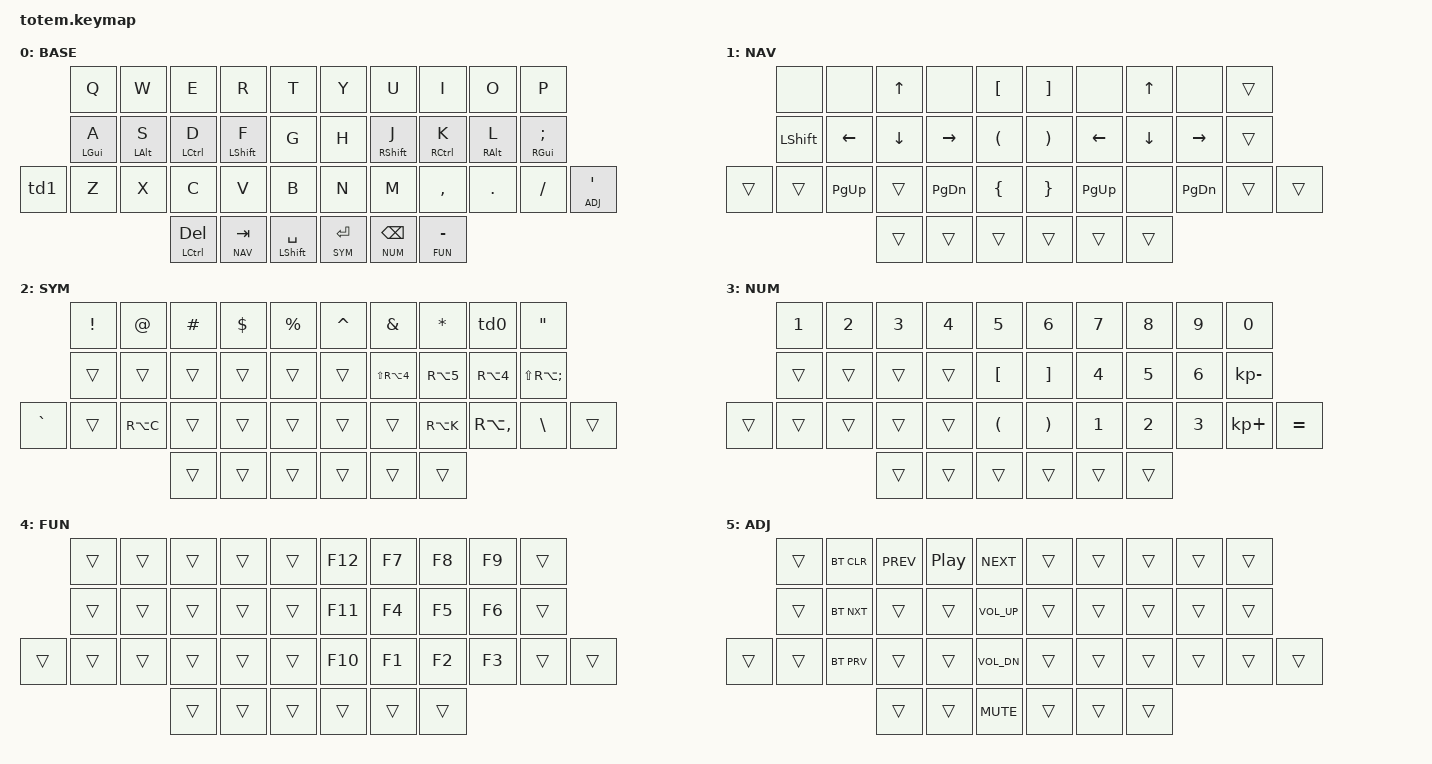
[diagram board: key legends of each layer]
//
//                                                        ▀▀▀▀▀     ▀▀▀▀▀          ▀▀█▀▀
//                                                        ▄▀▀▀▄  ▄  ▄▀▀▀▄  ▄  ▄▀▀▀▄  █  ▄▀▀▀▄
//                                                        █   █  █  █   █  █  █   █  █  █   █
//                                                         ▀▀▀   █   ▀▀▀   █   ▀▀▀   ▀   ▀▀▀
//                                                               █      ▄▄▄█▄▄▄    █   █
//                                                               ▀      █  █  █     █▄█
//                                                             ▀▀▀▀▀    █  █  █      ▀
//                                                                      ▀  ▀  ▀
//
// ▄▄▄▄▄▄▄▄▄▄▄▄▄▄▄▄▄▄▄▄▄▄▄▄▄▄▄▄▄▄▄▄▄▄▄▄▄▄▄▄▄▄▄▄▄▄▄▄▄▄▄▄▄▄▄▄▄▄▄▄▄▄▄▄▄▄▄▄▄▄▄▄▄▄▄▄▄▄▄▄▄▄▄▄▄▄▄▄▄▄▄▄▄▄▄▄▄▄▄▄▄▄▄▄▄▄▄▄▄▄▄▄▄▄▄▄▄▄▄▄▄▄▄▄▄▄▄▄▄▄▄▄▄▄▄▄▄▄▄▄▄▄▄▄▄▄▄▄▄


#include <behaviors.dtsi>
#include <dt-bindings/zmk/keys.h>
#include <dt-bindings/zmk/bt.h>
#include <dt-bindings/zmk/ext_power.h>
#include <dt-bindings/zmk/outputs.h>

#define ___ &trans

#define BASE   0
#define NAV    1
#define SYM    2
#define NUM    3
#define FUN    4
#define ADJ    5

// mod-tap : acts like a modifier when long pressed else tapped
&mt {
     tapping-term-ms = <240>;
     quick-tap-ms = <200>;
     require-prior-idle-ms = <125>;
     // global-quick-tap; // deprecated
     flavor = "tap-preferred";
};

// layer tap : hold to activate layer else tapped
&lt {
     tapping-term-ms = <240>;
     flavor = "balanced";
     quick-tap-ms = <150>;
};

&caps_word {
    continue-list = <UNDERSCORE MINUS>;
};

/ {
   behaviors {
          hm: homerow_mods {
          compatible = "zmk,behavior-hold-tap";
          label = "HOMEROW_MODS";
          #binding-cells = <2>;
          flavor = "tap-preferred";
          tapping-term-ms = <280>;
          quick-tap-ms = <200>;
          require-prior-idle-ms = <125>;
          bindings = <&kp>, <&kp>;
      };
      td0: tap_dance_0 {
            compatible = "zmk,behavior-tap-dance";
            #binding-cells = <0>;
            tapping-term-ms = <200>;
            bindings = <&kp SQT>, <&kp DQT>;
        };
      td1: tap_dance_1 {
            compatible = "zmk,behavior-tap-dance";
            #binding-cells = <0>;
            tapping-term-ms = <200>;
            bindings = <&none>, <&kp ESC>;
};
   };

/*
   +-----------------------------------------+     +-------------------------------------------+
   ¦  0   1   2   3   4 ¦  5   6   7   8   9 ¦     ¦ LT4 LT3 LT2 LT1 LT0 ¦ RT0 RT1 RT2 RT3 RT4 ¦
   ¦ 10  11  12  13  14 ¦ 15  16  17  18  19 ¦     ¦ LM4 LM3 LM2 LM1 LM0 ¦ RM0 RM1 RM2 RM3 RM4 ¦
  20 21  22  23  24  25 ¦ 26  27  28  29  30 31  LB5 LB4 LB3 LB2 LB1 LB0 ¦ RB0 RB1 RB2 RB3 RB4 RB5
   +-------+ 32  33  34 ¦ 35  36  37 +-------+     +-------+ LH2 LH1 LH0 ¦ RH0 RH1 RH2 +-------+
           +-------------------------+                     +---------------------------+         */

    combos {
        compatible = "zmk,combos";
        combo_ESC {
            timeout-ms = <50>;
            key-positions = <0 1>;
            bindings = <&kp ESC>;
        };
        combo_capsword {
	    timeout-ms = <50>;
            key-positions = <13 16>; // LSHIFT+RSHIFT
            bindings = <&caps_word>;
        };
        combo_pscrn {
	    timeout-ms = <50>;
            key-positions = <20 31>; // PRINT SCREEN
            bindings = <&kp PSCRN>;
        };
        combo_LBKT {
            timeout-ms = <50>;
            key-positions = <6 7>;  // [
            bindings = < &kp LBKT>;
        };
        combo_RBKT {
            timeout-ms = <50>;
            key-positions = <7 8>;  // ]
            bindings = <&kp RBKT>;
        };
        combo_LPAR {
            timeout-ms = <50>;
            key-positions = <16 17>; // (
            bindings = <&kp LPAR>;
        };
        combo_RPAR {
            timeout-ms = <50>;
            key-positions = <17 18>; // )
            bindings = <&kp RPAR>;
        };
        combo_LBRC {
            timeout-ms = <50>;
            key-positions = <27 28>; // {
            bindings = <&kp LBRC>;
        };
        combo_RBRC {
            timeout-ms = <50>;
            key-positions = <28 29>; // }
            bindings = <&kp RBRC>;
        };
        combo_PIPE {
            timeout-ms = <50>;
            key-positions = <19 30>; // |
            bindings = <&kp PIPE>;
        };
        // combo_COPY {
        //     timeout-ms = <50>;
        //     key-positions = <24 32>;
        //     bindings = <&kp LC(C)>;
        // };
        // combo_PASTE {
        //     timeout-ms = <50>;
        //     key-positions = <25 33>;
        //     bindings = <&kp LC(V)>;
        // };
    };

    keymap {
      compatible = "zmk,keymap";
// ▄▄▄▄▄▄▄▄▄▄▄▄▄▄▄▄▄▄▄▄▄▄▄▄▄▄▄▄▄▄▄▄▄▄▄▄▄▄▄▄▄▄▄▄▄▄▄▄▄▄▄▄▄▄▄▄▄▄▄▄▄▄▄▄▄▄▄▄▄▄▄▄▄▄▄▄▄▄▄▄▄▄▄▄▄▄▄▄▄▄▄▄▄▄▄▄▄▄▄▄▄▄▄▄▄▄▄▄▄▄▄▄▄▄▄▄▄▄▄▄▄▄▄▄▄▄▄▄▄▄▄▄▄▄▄▄▄▄▄▄▄▄▄▄▄▄▄▄▄

      base_layer {
// ┏━━━━━━━━━━━━━━━━━━━━━━━━━━━━━━━━━━━━━━━┓
label= "BASE"                              ;
// ┗━━━━━━━━━━━━━━━━━━━━━━━━━━━━━━━━━━━━━━━┛
//             ┏━━━━━━━━━━━┳━━━━━━━━━━━┳━━━━━━━━━━━┳━━━━━━━━━━━┳━━━━━━━━━━━┓   ┏━━━━━━━━━━━┳━━━━━━━━━━━┳━━━━━━━━━━━┳━━━━━━━━━━━┳━━━━━━━━━━━┓
//             ┃     Q     ┃     W     ┃     E     ┃     R     ┃     T     ┃   ┃     Y     ┃     U     ┃     I     ┃     O     ┃     P     ┃
//             ┃           ┃           ┃           ┃           ┃           ┃   ┃           ┃           ┃           ┃           ┃           ┃
//             ┣━━━━━━━━━━━╋━━━━━━━━━━━╋━━━━━━━━━━━╋━━━━━━━━━━━╋━━━━━━━━━━━┫   ┣━━━━━━━━━━━╋━━━━━━━━━━━╋━━━━━━━━━━━╋━━━━━━━━━━━╋━━━━━━━━━━━┫
//             ┃     A     ┃     S     ┃     D     ┃     F     ┃     G     ┃   ┃     H     ┃     J     ┃     K     ┃     L     ┃     ;     ┃
//             ┃  HM LGUI  ┃  HM LALT  ┃ HM LCTRL  ┃ HM LSHIFT ┃           ┃   ┃           ┃ HM RSHIFT ┃ HM RCTRL  ┃  HM RALT  ┃  HM RGUI  ┃
// ┏━━━━━━━━━━━╋━━━━━━━━━━━╋━━━━━━━━━━━╋━━━━━━━━━━━╋━━━━━━━━━━━╋━━━━━━━━━━━┫   ┣━━━━━━━━━━━╋━━━━━━━━━━━╋━━━━━━━━━━━╋━━━━━━━━━━━╋━━━━━━━━━━━╋━━━━━━━━━━━┓
// ┃    none   ┃     Z     ┃     X     ┃     C     ┃     V     ┃     B     ┃   ┃     N     ┃     M     ┃     <     ┃     >     ┃     ?     ┃     '     ┃
// ┃    ESC    ┃           ┃           ┃           ┃           ┃           ┃   ┃           ┃           ┃     ,     ┃     .     ┃     /     ┃    ADJ    ┃
// ┗━━━━━━━━━━━┻━━━━━━━━━━━┻━━━━━━━━━━━╋━━━━━━━━━━━╋━━━━━━━━━━━╋━━━━━━━━━━━┫   ┣━━━━━━━━━━━╋━━━━━━━━━━━╋━━━━━━━━━━━╋━━━━━━━━━━━┻━━━━━━━━━━━┻━━━━━━━━━━━┛
//                                     ┃     DEL   ┃    TAB    ┃    SPC    ┃   ┃   ENTER   ┃    BSPC   ┃    - _    ┃
//                                     ┃  MT LCTR  ┃    NAV    ┃ MT LSHIFT ┃   ┃    SYM    ┃    NUM    ┃    FUN    ┃
//                                     ┗━━━━━━━━━━━┻━━━━━━━━━━━┻━━━━━━━━━━━┛   ┗━━━━━━━━━━━┻━━━━━━━━━━━┻━━━━━━━━━━━┛
 bindings = <
                   &kp Q       &kp W       &kp E       &kp R        &kp T          &kp Y       &kp U       &kp I        &kp O      &kp P
                 &hm LGUI A  &hm LALT S  &hm LCTRL D  &hm LSHIFT F  &kp G          &kp H    &hm RSHFT J &hm RCTRL K  &hm RALT L &hm RGUI SEMICOLON
      &td1          &kp Z      &kp X       &kp C         &kp V      &kp B          &kp N       &kp M    &kp COMMA     &kp DOT   &kp SLASH   &lt ADJ APOSTROPHE
                                      &mt LCTRL DEL &lt NAV TAB &mt LSHIFT SPACE  &lt SYM RET &lt NUM BSPC &lt FUN MINUS
            >;

     };

// ▄▄▄▄▄▄▄▄▄▄▄▄▄▄▄▄▄▄▄▄▄▄▄▄▄▄▄▄▄▄▄▄▄▄▄▄▄▄▄▄▄▄▄▄▄▄▄▄▄▄▄▄▄▄▄▄▄▄▄▄▄▄▄▄▄▄▄▄▄▄▄▄▄▄▄▄▄▄▄▄▄▄▄▄▄▄▄▄▄▄▄▄▄▄▄▄▄▄▄▄▄▄▄▄▄▄▄▄▄▄▄▄▄▄▄▄▄▄▄▄▄▄▄▄▄▄▄▄▄▄▄▄▄▄▄▄▄▄▄▄▄▄▄▄▄▄▄▄▄

      nav_layer {
// ┏━━━━━━━━━━━━━━━━━━━━━━━━━━━━━━━━━━━━━━━┓
label= "NAV"                               ;
// ┗━━━━━━━━━━━━━━━━━━━━━━━━━━━━━━━━━━━━━━━┛
//             ┏━━━━━━━━━━━┳━━━━━━━━━━━┳━━━━━━━━━━━┳━━━━━━━━━━━┳━━━━━━━━━━━┓   ┏━━━━━━━━━━━┳━━━━━━━━━━━┳━━━━━━━━━━━┳━━━━━━━━━━━┳━━━━━━━━━━━┓
//             ┃           ┃           ┃     UP    ┃           ┃     [     ┃   ┃     ]     ┃           ┃     UP    ┃           ┃           ┃
//             ┃           ┃           ┃           ┃           ┃           ┃   ┃           ┃           ┃           ┃           ┃           ┃
//             ┣━━━━━━━━━━━╋━━━━━━━━━━━╋━━━━━━━━━━━╋━━━━━━━━━━━╋━━━━━━━━━━━┫   ┣━━━━━━━━━━━╋━━━━━━━━━━━╋━━━━━━━━━━━╋━━━━━━━━━━━╋━━━━━━━━━━━┫
//             ┃   SHIFT   ┃   LEFT    ┃    DOWN   ┃   RIGHT   ┃     (     ┃   ┃     )     ┃  LEFT     ┃   DOWN    ┃  RIGHT    ┃           ┃
//             ┃           ┃           ┃           ┃           ┃           ┃   ┃           ┃           ┃           ┃           ┃           ┃
// ┏━━━━━━━━━━━╋━━━━━━━━━━━╋━━━━━━━━━━━╋━━━━━━━━━━━╋━━━━━━━━━━━╋━━━━━━━━━━━┫   ┣━━━━━━━━━━━╋━━━━━━━━━━━╋━━━━━━━━━━━╋━━━━━━━━━━━╋━━━━━━━━━━━╋━━━━━━━━━━━┓
// ┃           ┃           ┃   P UP    ┃           ┃  P DOWN   ┃     {     ┃   ┃     }     ┃  P UP     ┃           ┃  P DOWN   ┃           ┃           ┃
// ┃           ┃           ┃           ┃           ┃           ┃           ┃   ┃           ┃           ┃           ┃           ┃           ┃           ┃
// ┗━━━━━━━━━━━┻━━━━━━━━━━━┻━━━━━━━━━━━╋━━━━━━━━━━━╋━━━━━━━━━━━╋━━━━━━━━━━━┫   ┣━━━━━━━━━━━╋━━━━━━━━━━━╋━━━━━━━━━━━╋━━━━━━━━━━━┻━━━━━━━━━━━┻━━━━━━━━━━━┛
//                                     ┃           ┃           ┃           ┃   ┃           ┃           ┃           ┃
//                                     ┃           ┃           ┃           ┃   ┃           ┃           ┃           ┃
//                                     ┗━━━━━━━━━━━┻━━━━━━━━━━━┻━━━━━━━━━━━┛   ┗━━━━━━━━━━━┻━━━━━━━━━━━┻━━━━━━━━━━━┛
 bindings = <
                  &none        &none       &kp UP      &none      &kp LBKT       &kp RBKT      &none       &kp UP      &none        ___
                 &kp LSHFT   &kp LEFT    &kp DOWN    &kp RIGHT    &kp LPAR       &kp RPAR    &kp LEFT    &kp DOWN    &kp RIGHT      ___
        ___         ___      &kp PG_UP     ___       &kp PG_DN    &kp LBRC       &kp RBRC    &kp PG_UP    &none      &kp PG_DN      ___        ___
                                           ___         ___          ___            ___         ___         ___
                        >;
                };

// ▄▄▄▄▄▄▄▄▄▄▄▄▄▄▄▄▄▄▄▄▄▄▄▄▄▄▄▄▄▄▄▄▄▄▄▄▄▄▄▄▄▄▄▄▄▄▄▄▄▄▄▄▄▄▄▄▄▄▄▄▄▄▄▄▄▄▄▄▄▄▄▄▄▄▄▄▄▄▄▄▄▄▄▄▄▄▄▄▄▄▄▄▄▄▄▄▄▄▄▄▄▄▄▄▄▄▄▄▄▄▄▄▄▄▄▄▄▄▄▄▄▄▄▄▄▄▄▄▄▄▄▄▄▄▄▄▄▄▄▄▄▄▄▄▄▄▄▄▄

      sim_layer {
// ┏━━━━━━━━━━━━━━━━━━━━━━━━━━━━━━━━━━━━━━━┓
label= "SYM"                               ;
// ┗━━━━━━━━━━━━━━━━━━━━━━━━━━━━━━━━━━━━━━━┛
//             ┏━━━━━━━━━━━┳━━━━━━━━━━━┳━━━━━━━━━━━┳━━━━━━━━━━━┳━━━━━━━━━━━┓   ┏━━━━━━━━━━━┳━━━━━━━━━━━┳━━━━━━━━━━━┳━━━━━━━━━━━┳━━━━━━━━━━━┓
//             ┃     !     ┃     @     ┃     #     ┃     $     ┃     %     ┃   ┃     ˆ     ┃     &     ┃     *     ┃     '     ┃     "     ┃
//             ┃           ┃           ┃           ┃           ┃           ┃   ┃           ┃           ┃           ┃           ┃           ┃
//             ┣━━━━━━━━━━━╋━━━━━━━━━━━╋━━━━━━━━━━━╋━━━━━━━━━━━╋━━━━━━━━━━━┫   ┣━━━━━━━━━━━╋━━━━━━━━━━━╋━━━━━━━━━━━╋━━━━━━━━━━━╋━━━━━━━━━━━┫
//             ┃           ┃           ┃           ┃           ┃           ┃   ┃           ┃     £     ┃     €     ┃     ¤     ┃     °     ┃
//             ┃           ┃           ┃           ┃           ┃           ┃   ┃           ┃           ┃           ┃           ┃           ┃
// ┏━━━━━━━━━━━╋━━━━━━━━━━━╋━━━━━━━━━━━╋━━━━━━━━━━━╋━━━━━━━━━━━╋━━━━━━━━━━━┫   ┣━━━━━━━━━━━╋━━━━━━━━━━━╋━━━━━━━━━━━╋━━━━━━━━━━━╋━━━━━━━━━━━╋━━━━━━━━━━━┓
// ┃    `      ┃           ┃ COPYRIGHT ┃           ┃           ┃           ┃   ┃           ┃           ┃     œ     ┃     ç     ┃     \     ┃           ┃
// ┃     ~     ┃           ┃           ┃           ┃           ┃           ┃   ┃           ┃           ┃           ┃           ┃           ┃           ┃
// ┗━━━━━━━━━━━┻━━━━━━━━━━━┻━━━━━━━━━━━╋━━━━━━━━━━━╋━━━━━━━━━━━╋━━━━━━━━━━━┫   ┣━━━━━━━━━━━╋━━━━━━━━━━━╋━━━━━━━━━━━╋━━━━━━━━━━━┻━━━━━━━━━━━┻━━━━━━━━━━━┛
//                                     ┃           ┃           ┃           ┃   ┃           ┃           ┃           ┃
//                                     ┃           ┃           ┃           ┃   ┃           ┃           ┃           ┃
//                                     ┗━━━━━━━━━━━┻━━━━━━━━━━━┻━━━━━━━━━━━┛   ┗━━━━━━━━━━━┻━━━━━━━━━━━┻━━━━━━━━━━━┛
 bindings = <
                &kp EXCL    &kp AT      &kp HASH    &kp DLLR    &kp PRCNT        &kp CARET   &kp AMPS   &kp ASTERISK       &td0      &kp DQT
                  ___         ___         ___         ___         ___               ___    &kp LS(RA(N4)) &kp RA(N5) &kp RA(N4) &kp LS(RA(SEMICOLON))
    &kp GRAVE     ___       &kp RA(C)     ___         ___         ___               ___         ___       &kp RA(K)  &kp RA(COMMA)  &kp BSLH    ___
                                          ___         ___         ___               ___         ___         ___
                        >;
                };

// ▄▄▄▄▄▄▄▄▄▄▄▄▄▄▄▄▄▄▄▄▄▄▄▄▄▄▄▄▄▄▄▄▄▄▄▄▄▄▄▄▄▄▄▄▄▄▄▄▄▄▄▄▄▄▄▄▄▄▄▄▄▄▄▄▄▄▄▄▄▄▄▄▄▄▄▄▄▄▄▄▄▄▄▄▄▄▄▄▄▄▄▄▄▄▄▄▄▄▄▄▄▄▄▄▄▄▄▄▄▄▄▄▄▄▄▄▄▄▄▄▄▄▄▄▄▄▄▄▄▄▄▄▄▄▄▄▄▄▄▄▄▄▄▄▄▄▄▄▄

      num_layer {
// ┏━━━━━━━━━━━━━━━━━━━━━━━━━━━━━━━━━━━━━━━┓
label= "NUM"                               ;
// ┗━━━━━━━━━━━━━━━━━━━━━━━━━━━━━━━━━━━━━━━┛
//             ┏━━━━━━━━━━━┳━━━━━━━━━━━┳━━━━━━━━━━━┳━━━━━━━━━━━┳━━━━━━━━━━━┓   ┏━━━━━━━━━━━┳━━━━━━━━━━━┳━━━━━━━━━━━┳━━━━━━━━━━━┳━━━━━━━━━━━┓
//             ┃     1     ┃     2     ┃     3     ┃    4      ┃     5     ┃   ┃     6     ┃     7     ┃     8     ┃     9     ┃     0     ┃
//             ┃     !     ┃     @     ┃     #     ┃    $      ┃     %     ┃   ┃     ^     ┃     &     ┃     *     ┃     (     ┃     )     ┃
//             ┣━━━━━━━━━━━╋━━━━━━━━━━━╋━━━━━━━━━━━╋━━━━━━━━━━━╋━━━━━━━━━━━┫   ┣━━━━━━━━━━━╋━━━━━━━━━━━╋━━━━━━━━━━━╋━━━━━━━━━━━╋━━━━━━━━━━━┫
//             ┃           ┃           ┃           ┃           ┃     [     ┃   ┃     ]     ┃     4     ┃     5     ┃     6     ┃     -     ┃
//             ┃           ┃           ┃           ┃           ┃     {     ┃   ┃     }     ┃           ┃           ┃           ┃           ┃
// ┏━━━━━━━━━━━╋━━━━━━━━━━━╋━━━━━━━━━━━╋━━━━━━━━━━━╋━━━━━━━━━━━╋━━━━━━━━━━━┫   ┣━━━━━━━━━━━╋━━━━━━━━━━━╋━━━━━━━━━━━╋━━━━━━━━━━━╋━━━━━━━━━━━╋━━━━━━━━━━━┓
// ┃           ┃           ┃           ┃           ┃           ┃     (     ┃   ┃     )     ┃     1     ┃     2     ┃     3     ┃     +     ┃     =     ┃
// ┃           ┃           ┃           ┃           ┃           ┃           ┃   ┃           ┃           ┃           ┃           ┃           ┃           ┃
// ┗━━━━━━━━━━━┻━━━━━━━━━━━┻━━━━━━━━━━━╋━━━━━━━━━━━╋━━━━━━━━━━━╋━━━━━━━━━━━┫   ┣━━━━━━━━━━━╋━━━━━━━━━━━╋━━━━━━━━━━━╋━━━━━━━━━━━┻━━━━━━━━━━━┻━━━━━━━━━━━┛
//                                     ┃           ┃           ┃           ┃   ┃           ┃     0     ┃           ┃
//                                     ┃           ┃           ┃           ┃   ┃           ┃           ┃           ┃
//                                     ┗━━━━━━━━━━━┻━━━━━━━━━━━┻━━━━━━━━━━━┛   ┗━━━━━━━━━━━┻━━━━━━━━━━━┻━━━━━━━━━━━┛
 bindings = <
              &kp NUMBER_1  &kp NUMBER_2 &kp NUMBER_3 &kp NUMBER_4 &kp NUMBER_5 &kp NUMBER_6 &kp NUMBER_7 &kp NUMBER_8 &kp NUMBER_9 &kp NUMBER_0
                    ___        ___         ___         ___   &kp LEFT_BRACKET  &kp RIGHT_BRACKET   &kp NUMBER_4 &kp NUMBER_5 &kp NUMBER_6 &kp KP_MINUS
        ___         ___        ___         ___         ___       &kp LPAR       &kp RPAR   &kp NUMBER_1 &kp NUMBER_2 &kp NUMBER_3 &kp KP_PLUS &kp EQUAL
                                           ___         ___          ___             ___          ___        ___
                        >;
                };
// ▄▄▄▄▄▄▄▄▄▄▄▄▄▄▄▄▄▄▄▄▄▄▄▄▄▄▄▄▄▄▄▄▄▄▄▄▄▄▄▄▄▄▄▄▄▄▄▄▄▄▄▄▄▄▄▄▄▄▄▄▄▄▄▄▄▄▄▄▄▄▄▄▄▄▄▄▄▄▄▄▄▄▄▄▄▄▄▄▄▄▄▄▄▄▄▄▄▄▄▄▄▄▄▄▄▄▄▄▄▄▄▄▄▄▄▄▄▄▄▄▄▄▄▄▄▄▄▄▄▄▄▄▄▄▄▄▄▄▄▄▄▄▄▄▄▄▄▄▄

      fun_layer {
// ┏━━━━━━━━━━━━━━━━━━━━━━━━━━━━━━━━━━━━━━━┓
label= "FUN"                               ;
// ┗━━━━━━━━━━━━━━━━━━━━━━━━━━━━━━━━━━━━━━━┛
//             ┏━━━━━━━━━━━┳━━━━━━━━━━━┳━━━━━━━━━━━┳━━━━━━━━━━━┳━━━━━━━━━━━┓   ┏━━━━━━━━━━━┳━━━━━━━━━━━┳━━━━━━━━━━━┳━━━━━━━━━━━┳━━━━━━━━━━━┓
//             ┃           ┃           ┃           ┃           ┃           ┃   ┃   F12     ┃    F7     ┃    F8     ┃    F9     ┃           ┃
//             ┃           ┃           ┃           ┃           ┃           ┃   ┃           ┃           ┃           ┃           ┃           ┃
//             ┣━━━━━━━━━━━╋━━━━━━━━━━━╋━━━━━━━━━━━╋━━━━━━━━━━━╋━━━━━━━━━━━┫   ┣━━━━━━━━━━━╋━━━━━━━━━━━╋━━━━━━━━━━━╋━━━━━━━━━━━╋━━━━━━━━━━━┫
//             ┃           ┃           ┃           ┃           ┃           ┃   ┃   F11     ┃    F4     ┃    F5     ┃    F6     ┃           ┃
//             ┃           ┃           ┃           ┃           ┃           ┃   ┃           ┃           ┃           ┃           ┃           ┃
// ┏━━━━━━━━━━━╋━━━━━━━━━━━╋━━━━━━━━━━━╋━━━━━━━━━━━╋━━━━━━━━━━━╋━━━━━━━━━━━┫   ┣━━━━━━━━━━━╋━━━━━━━━━━━╋━━━━━━━━━━━╋━━━━━━━━━━━╋━━━━━━━━━━━╋━━━━━━━━━━━┓
// ┃           ┃           ┃           ┃           ┃           ┃           ┃   ┃   F10     ┃    F1     ┃    F2     ┃    F3     ┃           ┃           ┃
// ┃           ┃           ┃           ┃           ┃           ┃           ┃   ┃           ┃           ┃           ┃           ┃           ┃           ┃
// ┗━━━━━━━━━━━┻━━━━━━━━━━━┻━━━━━━━━━━━╋━━━━━━━━━━━╋━━━━━━━━━━━╋━━━━━━━━━━━┫   ┣━━━━━━━━━━━╋━━━━━━━━━━━╋━━━━━━━━━━━╋━━━━━━━━━━━┻━━━━━━━━━━━┻━━━━━━━━━━━┛
//                                     ┃           ┃           ┃           ┃   ┃           ┃           ┃           ┃
//                                     ┃           ┃           ┃           ┃   ┃           ┃           ┃           ┃
//                                     ┗━━━━━━━━━━━┻━━━━━━━━━━━┻━━━━━━━━━━━┛   ┗━━━━━━━━━━━┻━━━━━━━━━━━┻━━━━━━━━━━━┛
 bindings = <
                   ___         ___          ___         ___         ___           &kp F12     &kp F7      &kp F8      &kp F9      ___
                   ___         ___          ___         ___         ___           &kp F11     &kp F4      &kp F5      &kp F6      ___
        ___        ___         ___          ___         ___         ___           &kp F10     &kp F1      &kp F2      &kp F3      ___       ___
                                            ___         ___         ___             ___         ___         ___
                        >;
                };

// ▄▄▄▄▄▄▄▄▄▄▄▄▄▄▄▄▄▄▄▄▄▄▄▄▄▄▄▄▄▄▄▄▄▄▄▄▄▄▄▄▄▄▄▄▄▄▄▄▄▄▄▄▄▄▄▄▄▄▄▄▄▄▄▄▄▄▄▄▄▄▄▄▄▄▄▄▄▄▄▄▄▄▄▄▄▄▄▄▄▄▄▄▄▄▄▄▄▄▄▄▄▄▄▄▄▄▄▄▄▄▄▄▄▄▄▄▄▄▄▄▄▄▄▄▄▄▄▄▄▄▄▄▄▄▄▄▄▄▄▄▄▄▄▄▄▄▄▄▄

      adjust_layer {
// ┏━━━━━━━━━━━━━━━━━━━━━━━━━━━━━━━━━━━━━━━┓
label= "ADJ"                               ;
// ┗━━━━━━━━━━━━━━━━━━━━━━━━━━━━━━━━━━━━━━━┛
//             ┏━━━━━━━━━━━┳━━━━━━━━━━━┳━━━━━━━━━━━┳━━━━━━━━━━━┳━━━━━━━━━━━┓   ┏━━━━━━━━━━━┳━━━━━━━━━━━┳━━━━━━━━━━━┳━━━━━━━━━━━┳━━━━━━━━━━━┓
//             ┃           ┃ BT CLEAR  ┃   PREV    ┃PLAY_PAUSE ┃  NEXT     ┃   ┃           ┃           ┃           ┃           ┃           ┃
//             ┃           ┃           ┃           ┃           ┃           ┃   ┃           ┃           ┃           ┃           ┃           ┃
//             ┣━━━━━━━━━━━╋━━━━━━━━━━━╋━━━━━━━━━━━╋━━━━━━━━━━━╋━━━━━━━━━━━┫   ┣━━━━━━━━━━━╋━━━━━━━━━━━╋━━━━━━━━━━━╋━━━━━━━━━━━╋━━━━━━━━━━━┫
//             ┃           ┃ BT NEXT   ┃           ┃           ┃   VOL+    ┃   ┃           ┃           ┃           ┃           ┃           ┃
//             ┃           ┃           ┃           ┃           ┃           ┃   ┃           ┃           ┃           ┃           ┃           ┃
// ┏━━━━━━━━━━━╋━━━━━━━━━━━╋━━━━━━━━━━━╋━━━━━━━━━━━╋━━━━━━━━━━━╋━━━━━━━━━━━┫   ┣━━━━━━━━━━━╋━━━━━━━━━━━╋━━━━━━━━━━━╋━━━━━━━━━━━╋━━━━━━━━━━━╋━━━━━━━━━━━┓
// ┃           ┃           ┃ BT PREV   ┃           ┃           ┃   VOL-    ┃   ┃           ┃           ┃           ┃           ┃           ┃           ┃
// ┃           ┃           ┃           ┃           ┃           ┃           ┃   ┃           ┃           ┃           ┃           ┃           ┃           ┃
// ┗━━━━━━━━━━━┻━━━━━━━━━━━┻━━━━━━━━━━━╋━━━━━━━━━━━╋━━━━━━━━━━━╋━━━━━━━━━━━┫   ┣━━━━━━━━━━━╋━━━━━━━━━━━╋━━━━━━━━━━━╋━━━━━━━━━━━┻━━━━━━━━━━━┻━━━━━━━━━━━┛
//                                     ┃           ┃           ┃   MUTE    ┃   ┃           ┃           ┃           ┃
//                                     ┃           ┃           ┃           ┃   ┃           ┃           ┃           ┃
//                                     ┗━━━━━━━━━━━┻━━━━━━━━━━━┻━━━━━━━━━━━┛   ┗━━━━━━━━━━━┻━━━━━━━━━━━┻━━━━━━━━━━━┛
 bindings = <
                   ___       &bt BT_CLR  &kp C_PREV  &kp C_PP    &kp C_NEXT         ___         ___         ___        ___          ___
                   ___       &bt BT_NXT     ___         ___     &kp C_VOL_UP        ___         ___         ___        ___          ___
        ___        ___       &bt BT_PRV     ___         ___     &kp C_VOL_DN        ___         ___         ___        ___          ___       ___
                                            ___         ___     &kp C_MUTE          ___         ___         ___
                        >;
                };
// ▄▄▄▄▄▄▄▄▄▄▄▄▄▄▄▄▄▄▄▄▄▄▄▄▄▄▄▄▄▄▄▄▄▄▄▄▄▄▄▄▄▄▄▄▄▄▄▄▄▄▄▄▄▄▄▄▄▄▄▄▄▄▄▄▄▄▄▄▄▄▄▄▄▄▄▄▄▄▄▄▄▄▄▄▄▄▄▄▄▄▄▄▄▄▄▄▄▄▄▄▄▄▄▄▄▄▄▄▄▄▄▄▄▄▄▄▄▄▄▄▄▄▄▄▄▄▄▄▄▄▄▄▄▄▄▄▄▄▄▄▄▄▄▄▄▄▄▄▄


//    XXX_layer {
// ┏━━━━━━━━━━━━━━━━━━━━━━━━━━━━━━━━━━━━━━━┓
//label= "XXX label"                             ;
// ┗━━━━━━━━━━━━━━━━━━━━━━━━━━━━━━━━━━━━━━━┛
//             ┏━━━━━━━━━━━┳━━━━━━━━━━━┳━━━━━━━━━━━┳━━━━━━━━━━━┳━━━━━━━━━━━┓   ┏━━━━━━━━━━━┳━━━━━━━━━━━┳━━━━━━━━━━━┳━━━━━━━━━━━┳━━━━━━━━━━━┓
//             ┃           ┃           ┃           ┃           ┃           ┃   ┃           ┃           ┃           ┃           ┃           ┃
//             ┃           ┃           ┃           ┃           ┃           ┃   ┃           ┃           ┃           ┃           ┃           ┃
//             ┣━━━━━━━━━━━╋━━━━━━━━━━━╋━━━━━━━━━━━╋━━━━━━━━━━━╋━━━━━━━━━━━┫   ┣━━━━━━━━━━━╋━━━━━━━━━━━╋━━━━━━━━━━━╋━━━━━━━━━━━╋━━━━━━━━━━━┫
//             ┃           ┃           ┃           ┃           ┃           ┃   ┃           ┃           ┃           ┃           ┃           ┃
//             ┃           ┃           ┃           ┃           ┃           ┃   ┃           ┃           ┃           ┃           ┃           ┃
// ┏━━━━━━━━━━━╋━━━━━━━━━━━╋━━━━━━━━━━━╋━━━━━━━━━━━╋━━━━━━━━━━━╋━━━━━━━━━━━┫   ┣━━━━━━━━━━━╋━━━━━━━━━━━╋━━━━━━━━━━━╋━━━━━━━━━━━╋━━━━━━━━━━━╋━━━━━━━━━━━┓
// ┃           ┃           ┃           ┃           ┃           ┃           ┃   ┃           ┃           ┃           ┃           ┃           ┃           ┃
// ┃           ┃           ┃           ┃           ┃           ┃           ┃   ┃           ┃           ┃           ┃           ┃           ┃           ┃
// ┗━━━━━━━━━━━┻━━━━━━━━━━━┻━━━━━━━━━━━╋━━━━━━━━━━━╋━━━━━━━━━━━╋━━━━━━━━━━━┫   ┣━━━━━━━━━━━╋━━━━━━━━━━━╋━━━━━━━━━━━╋━━━━━━━━━━━┻━━━━━━━━━━━┻━━━━━━━━━━━┛
//                                     ┃           ┃           ┃           ┃   ┃           ┃           ┃           ┃
//                                     ┃           ┃           ┃           ┃   ┃           ┃           ┃           ┃
//                                     ┗━━━━━━━━━━━┻━━━━━━━━━━━┻━━━━━━━━━━━┛   ┗━━━━━━━━━━━┻━━━━━━━━━━━┻━━━━━━━━━━━┛
//        };
  };
};
